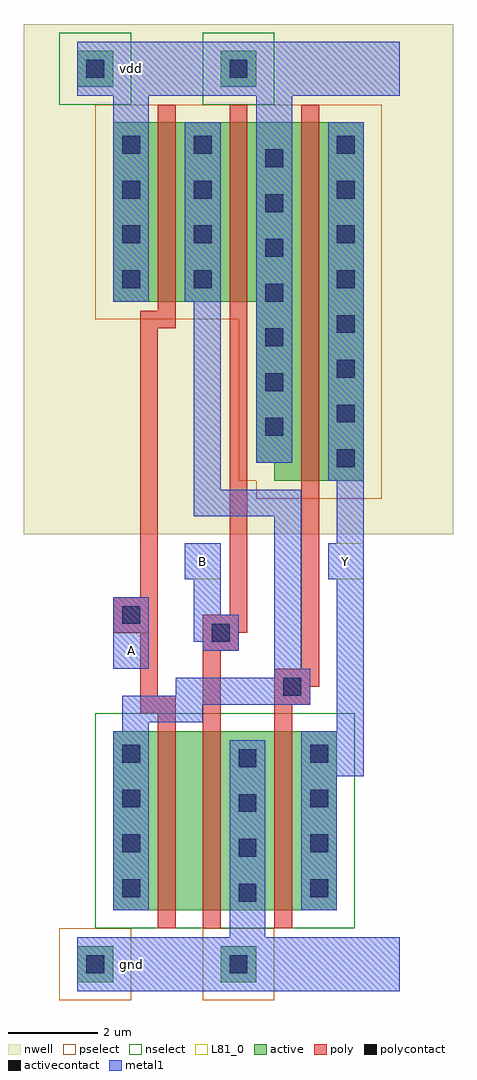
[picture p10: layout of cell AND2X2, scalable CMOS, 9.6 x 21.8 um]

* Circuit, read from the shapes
.subckt AND2X2 A B Y gnd vdd
M1 n1 A n2 gnd nfet w=4u l=0.4u
M2 gnd B n1 gnd nfet w=4u l=0.4u
M3 Y n2 gnd gnd nfet w=4u l=0.4u
M4 n2 A vdd vdd pfet w=4u l=0.4u
M5 vdd B n2 vdd pfet w=4u l=0.4u
M6 Y n2 vdd vdd pfet w=8u l=0.4u
.ends

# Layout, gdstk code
import gdstk
lib = gdstk.Library(unit=1e-6, precision=1e-09)
def R(c, l, rs):  # rectangles x0, y0, x1, y1
    for r in rs: c.add(gdstk.rectangle(r[:2], r[2:], *l))
def A(c, l, x, y, w, h, nx, ny, dx, dy):  # array of equal rectangles
    R(c, l, [(x+i*dx, y+j*dy, x+i*dx+w, y+j*dy+h) for i in range(nx) for j in range(ny)])
nwell = (42, 0)
active = (43, 0)
pselect = (44, 0)
nselect = (45, 0)
poly = (46, 0)
polycontact = (47, 0)
activecontact = (48, 0)
metal1 = (49, 0)
L81_0 = (81, 0)

and2x2 = lib.new_cell('AND2X2')
R(and2x2, nwell, [(-1.6,9.6,8,21)])
R(and2x2, active, [(-0.4,-0.4,0.4,0.4), (2.8,-0.4,3.6,0.4), (0.4,1.2,5.4,5.2), (4,10.8,6,11.2), (3.6,11.2,6,14.8), (0.4,14.8,6,18.8), (-0.4,19.6,0.4,20.4), (2.8,19.6,3.6,20.4)])
R(and2x2, pselect, [(-0.8,-0.8,0.8,0.8), (2.4,-0.8,4,0.8), (3.6,10.4,6.4,10.8), (3.2,10.8,6.4,14.4), (0,14.4,6.4,19.2)])
R(and2x2, nselect, [(0,0.8,5.8,5.6), (-0.8,19.2,0.8,20.8), (2.4,19.2,4,20.8)])
R(and2x2, poly, [(1.4,0.8,1.8,5.6), (2.4,0.8,2.8,7), (4,0.8,4.4,5.8), (1,5.6,1.8,6), (4,5.8,4.8,6.2), (1,6,1.4,7.4), (4,6.2,5,6.6), (4.6,6.6,5,19.2), (2.4,7,3.2,7.4), (0.4,7.4,1.4,8.2), (2.4,7.4,3.4,7.8), (3,7.8,3.4,19.2), (1,8.2,1.4,14.2), (1,14.2,1.8,14.6), (1.4,14.6,1.8,19.2)])
R(and2x2, polycontact, [(4.2,6,4.6,6.4), (2.6,7.2,3,7.6), (0.6,7.6,1,8)])
A(and2x2, activecontact, 3.2, 1.4, 0.4, 0.4, 1, 4, 0, 1)
A(and2x2, activecontact, 0.6, 1.5, 0.4, 0.4, 1, 4, 0, 1)
A(and2x2, activecontact, 4.8, 1.5, 0.4, 0.4, 1, 4, 0, 1)
A(and2x2, activecontact, 5.4, 11.1, 0.4, 0.4, 1, 8, 0, 1)
A(and2x2, activecontact, 3.8, 11.8, 0.4, 0.4, 1, 7, 0, 1)
A(and2x2, activecontact, 0.6, 15.1, 0.4, 0.4, 1, 4, 0, 1)
A(and2x2, activecontact, 2.2, 15.1, 0.4, 0.4, 1, 4, 0, 1)
R(and2x2, activecontact, [(-0.2,-0.2,0.2,0.2), (3,-0.2,3.4,0.2), (-0.2,19.8,0.2,20.2), (3,19.8,3.4,20.2)])
R(and2x2, metal1, [(-0.4,-0.6,6.8,0.6), (3,0.6,3.8,5), (0.4,1.2,1.2,5.2), (4.6,1.2,5.4,4.2), (4.6,4.2,6,5.2), (0.6,5.2,1.2,5.4), (5.4,5.2,6,8.6), (0.6,5.4,2.4,5.8), (0.6,5.8,4.8,6), (1.8,6,4.8,6.4), (4,6.4,4.8,6.6), (0.4,6.6,1.2,8.2), (4,6.6,4.6,10), (2.4,7,3.2,7.2), (2.2,7.2,3.2,7.8), (2.2,7.8,2.8,8.6), (2,8.6,2.8,9.4), (5.2,8.6,6,9.4), (5.4,9.4,6,10.8), (2.2,10,4.6,10.6), (2.2,10.6,2.8,14.8), (5.2,10.8,6,18.8), (3.6,11.2,4.4,19.4), (0.4,14.8,1.2,19.4), (2,14.8,2.8,18.8), (-0.4,19.4,6.8,20.6)])
R(and2x2, L81_0, [(0.4,6.6,1.2,7.4), (2,8.6,2.8,9.4), (5.2,8.6,6,9.4)])
and2x2.add(gdstk.Label('vdd', (0.8,20), layer=109, texttype=0))
and2x2.add(gdstk.Label('gnd', (0.8,0), layer=109, texttype=0))
and2x2.add(gdstk.Label('A', (0.8,7), layer=109, texttype=0))
and2x2.add(gdstk.Label('B', (2.4,9), layer=109, texttype=0))
and2x2.add(gdstk.Label('Y', (5.6,9), layer=109, texttype=0))

lib.write_gds('AND2X2.gds')
